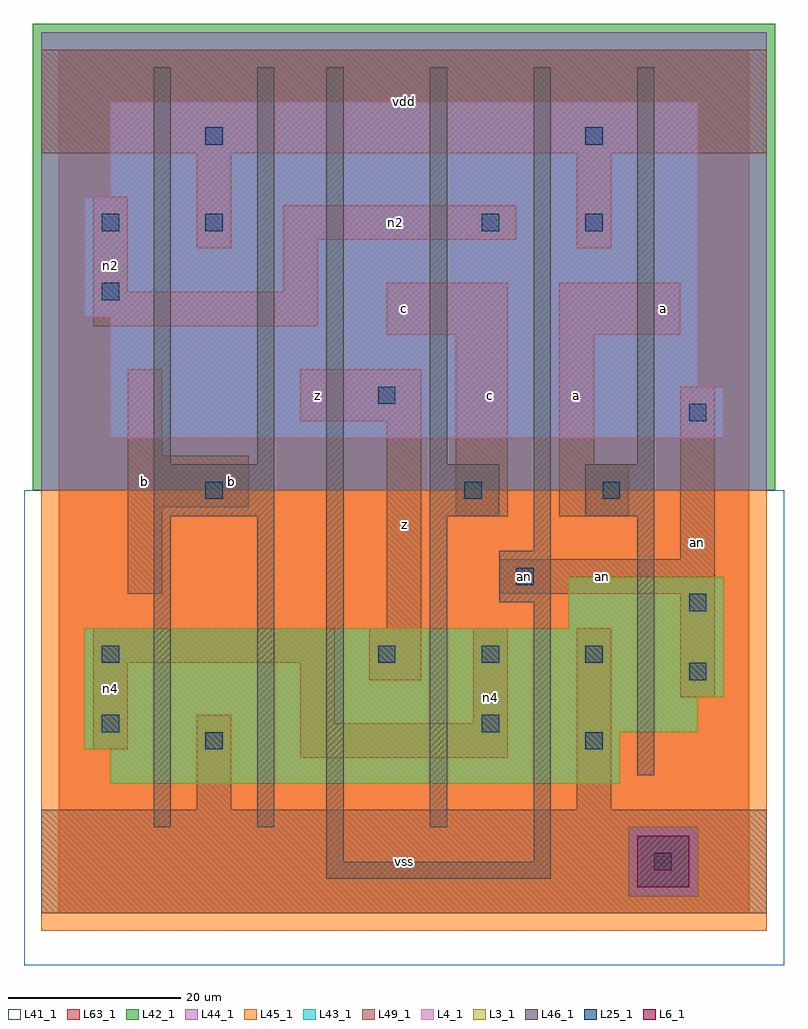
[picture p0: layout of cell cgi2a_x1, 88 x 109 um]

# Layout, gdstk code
import gdstk
lib = gdstk.Library(unit=1e-6, precision=1e-09)
def R(c, l, rs):  # rectangles x0, y0, x1, y1
    for r in rs: c.add(gdstk.rectangle(r[:2], r[2:], *l))
def A(c, l, x, y, w, h, nx, ny, dx, dy):  # array of equal rectangles
    R(c, l, [(x+i*dx, y+j*dy, x+i*dx+w, y+j*dy+h) for i in range(nx) for j in range(ny)])
L3_1 = (3, 1)
L4_1 = (4, 1)
L6_1 = (6, 1)
L25_1 = (25, 1)
L41_1 = (41, 1)
L42_1 = (42, 1)
L43_1 = (43, 1)
L44_1 = (44, 1)
L45_1 = (45, 1)
L46_1 = (46, 1)
L49_1 = (49, 1)
L63_1 = (63, 1)

cgi2a_x1 = lib.new_cell('cgi2a_x1')
R(cgi2a_x1, L3_1, [(6,15,65,19), (3,19,65,21), (3,21,74,25), (3,25,77,33), (59,33,77,39)])
R(cgi2a_x1, L4_1, [(6,55,77,61), (6,61,74,69), (3,69,74,83), (6,83,74,94)])
R(cgi2a_x1, L6_1, [(67,3,73,9)])
A(cgi2a_x1, L25_1, 37, 29, 2, 2, 3, 1, 12, 0)
R(cgi2a_x1, L25_1, [(69,5,71,7), (17,19,19,21), (61,19,63,21), (5,21,7,23), (49,21,51,23), (73,27,75,29), (5,29,7,31), (73,35,75,37), (53,38,55,40), (17,48,19,50), (47,48,49,50), (63,48,65,50), (73,57,75,59), (37,59,39,61), (5,71,7,73), (5,79,7,81), (17,79,19,81), (49,79,51,81), (61,79,63,81), (17,89,19,91), (61,89,63,91)])
R(cgi2a_x1, L41_1, [(-4,-6,84,49), (-3,-3,83,49)])
R(cgi2a_x1, L42_1, [(-3,49,83,103)])
R(cgi2a_x1, L43_1, [(67,3,73,9), (6,15,65,19), (3,19,65,21), (3,21,74,25), (3,25,77,33), (59,33,77,39), (6,55,77,61), (6,61,74,69), (3,69,74,83), (6,83,74,94)])
R(cgi2a_x1, L44_1, [(66,2,74,10), (-2,49,82,102)])
R(cgi2a_x1, L45_1, [(-2,-2,82,2), (-2,2,66,10), (74,2,82,10), (-2,10,82,49)])
R(cgi2a_x1, L46_1, [(31,4,57,6), (31,6,33,98), (55,6,57,36), (11,10,13,46), (23,10,25,46), (43,10,45,46), (67,16,69,46), (51,36,57,42), (55,42,57,98), (11,46,25,52), (43,46,51,52), (61,46,69,52), (11,52,13,98), (23,52,25,98), (43,52,45,98), (67,52,69,98)])
R(cgi2a_x1, L49_1, [(-2,0,82,12), (16,12,20,23), (60,12,64,33), (28,18,52,22), (4,19,8,29), (28,22,32,29), (48,22,52,33), (72,25,76,37), (36,27,42,33), (4,29,32,33), (38,33,42,57), (8,37,12,47), (51,37,76,41), (72,41,76,61), (46,46,52,67), (58,46,66,52), (8,47,22,53), (58,52,62,67), (8,53,12,63), (28,57,42,63), (38,67,52,73), (58,67,72,73), (4,68,30,72), (4,72,8,83), (26,72,30,78), (16,77,20,88), (60,77,64,88), (26,78,53,82), (-2,88,82,100)])
R(cgi2a_x1, L63_1, [(0,0,80,100)])
cgi2a_x1.add(gdstk.Label('an', (54,39), layer=49, texttype=1))
cgi2a_x1.add(gdstk.Label('n4', (6,26), layer=49, texttype=1))
cgi2a_x1.add(gdstk.Label('b', (10,50), layer=49, texttype=1))
cgi2a_x1.add(gdstk.Label('b', (10,50), layer=49, texttype=1))
cgi2a_x1.add(gdstk.Label('n2', (6,75), layer=49, texttype=1))
cgi2a_x1.add(gdstk.Label('b', (20,50), layer=49, texttype=1))
cgi2a_x1.add(gdstk.Label('b', (20,50), layer=49, texttype=1))
cgi2a_x1.add(gdstk.Label('vss', (40,6), layer=49, texttype=1))
cgi2a_x1.add(gdstk.Label('vss', (40,6), layer=49, texttype=1))
cgi2a_x1.add(gdstk.Label('z', (40,45), layer=49, texttype=1))
cgi2a_x1.add(gdstk.Label('z', (40,45), layer=49, texttype=1))
cgi2a_x1.add(gdstk.Label('z', (30,60), layer=49, texttype=1))
cgi2a_x1.add(gdstk.Label('z', (30,60), layer=49, texttype=1))
cgi2a_x1.add(gdstk.Label('c', (40,70), layer=49, texttype=1))
cgi2a_x1.add(gdstk.Label('c', (40,70), layer=49, texttype=1))
cgi2a_x1.add(gdstk.Label('vdd', (40,94), layer=49, texttype=1))
cgi2a_x1.add(gdstk.Label('vdd', (40,94), layer=49, texttype=1))
cgi2a_x1.add(gdstk.Label('n4', (50,25), layer=49, texttype=1))
cgi2a_x1.add(gdstk.Label('a', (60,60), layer=49, texttype=1))
cgi2a_x1.add(gdstk.Label('a', (60,60), layer=49, texttype=1))
cgi2a_x1.add(gdstk.Label('c', (50,60), layer=49, texttype=1))
cgi2a_x1.add(gdstk.Label('c', (50,60), layer=49, texttype=1))
cgi2a_x1.add(gdstk.Label('n2', (39,80), layer=49, texttype=1))
cgi2a_x1.add(gdstk.Label('an', (63,39), layer=49, texttype=1))
cgi2a_x1.add(gdstk.Label('an', (74,43), layer=49, texttype=1))
cgi2a_x1.add(gdstk.Label('a', (70,70), layer=49, texttype=1))
cgi2a_x1.add(gdstk.Label('a', (70,70), layer=49, texttype=1))

lib.write_gds('cgi2a_x1.gds')
